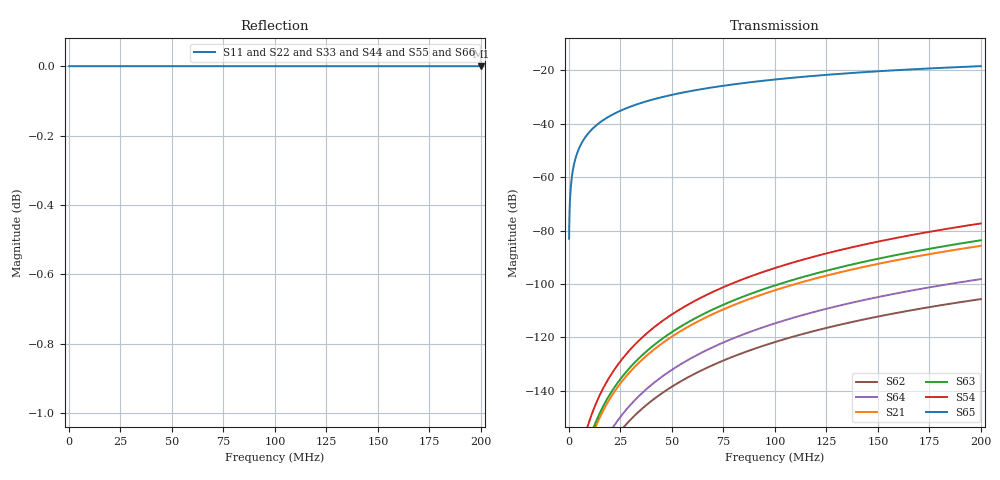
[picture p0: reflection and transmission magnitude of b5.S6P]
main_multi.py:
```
# import re
# import numpy as np
# import matplotlib.pyplot as plt
# import pathlib

# from copy import deepcopy
# from code_pdn_AH import PDN
# import time
# import os
# import skrf as rf
# from input_AH import input_path, stackup_path, touchstone_path

# from pdn_io.spd_parser import parse_spd
# from pdn_io.stackup_parser import read_stackup
# from pdn_io.spd_parser_multi import parse_spd_multi


# if __name__ == '__main__':
#     # Get the directory where the script is located
#     script_dir = os.path.dirname(__file__)

#     # Construct the absolute path to the SPD file
#     spd_path = os.path.join(script_dir, "input files", "board 5", "b5.spd")

#     boards = parse_spd_multi(PDN, spd_path, ["pwr", "pwr1", "pwr2", "pwr3", "pwr4", "pwr5"], verbose=True)  
#     if boards:
#         for i, board_data in enumerate(boards):
#             print(f"\n--- Printing Board {i+1} ({['pwr', 'pwr1', 'pwr2', 'pwr3', 'pwr4', 'pwr5'][i]}) ---")
            
#             # The 'board_data' is a tuple. You can access its elements by index.
#             # Printing each element separately makes the output more readable.
#             print(f"Board Polygons (bxy): {board_data[0]}")
#             print(f"IC Via XY: {board_data[1]}")
#             print(f"IC Via Type: {board_data[2]}")
#             print(f"Start Layers: {board_data[3]}")
#             print(f"Stop Layers: {board_data[4]}")
#             print(f"Via Type: {board_data[5]}")
#             print(f"Decap Via XY: {board_data[6]}")
#             print(f"Decap Via Type: {board_data[7]}")
#             print(f"Stackup: {board_data[8]}")
            
#             # Check for buried vias, as they are optional in the tuple
#             if len(board_data) > 9:
#                 print(f"Buried Via XY: {board_data[9]}")
#                 print(f"Buried Via Type: {board_data[10]}")

#             print("------------------------------------------")
#     else:
#         print("\nNo boards were successfully parsed.")



import os
import numpy as np
import matplotlib.pyplot as plt
import skrf as rf

from BEM_AC_NVM_PDN import PDN
from pdn_io.spd_parser_multi import parse_spd_multi
from pdn_io.stackup_parser import read_stackup


if __name__ == "__main__":

    # --- Paths ---
    script_dir = os.path.dirname(__file__)
    spd_path = os.path.join(script_dir, "input files", "board 5", "b5.spd")
    stackup_path = os.path.join(script_dir, "input files", "board 5", "b5_stackup.csv")
    touchstone_path = os.path.join(script_dir, "input files", "board 5", "b5.S6P")

    # --- Build all 6 boards ---

    boards = parse_spd_multi(PDN, spd_path,
                             ["pwr", "pwr1", "pwr2", "pwr3", "pwr4", "pwr5"],
                             verbose=True)

    # --- Pick board 1 (net 'pwr') ---

    brd = boards[0]  # index 0 → 'pwr'
    # Attach stackup info
    die_t, er_list, d_r = read_stackup(stackup_path)
    brd.er_list = er_list
    brd.die_t = die_t
    brd.d_r = d_r

    # --- Build boundary segments for calc_z_fast ---
    d = 1e-3  # your spacing step
    brd.bxy = np.array([np.round(np.array(item), 6) for item in brd.bxy], dtype=object)
    brd.sxy = np.concatenate([brd.seg_bd_node(single_bxy, d) for single_bxy in brd.bxy], axis=0)

    brd.sxy_index_ranges = []
    offset = 0
    for b in brd.bxy:
        n_seg = brd.seg_bd_node(b, d).shape[0]
        brd.sxy_index_ranges.append((offset, offset + n_seg))
        offset += n_seg

    brd.sxy_list = [brd.seg_bd_node(b, d) for b in brd.bxy]

    # Now you can print using the named attributes as requested
    print(f"Board Polygons (bxy): {brd.bxy}")
    print(f"IC Via XY: {brd.ic_via_xy}")
    print(f"IC Via Type: {brd.ic_via_type}")
    print(f"Start Layers: {brd.start_layers}")
    print(f"Stop Layers: {brd.stop_layers}")
    print(f"Via Type: {brd.via_type}")
    print(f"Decap Via XY: {brd.decap_via_xy}")
    print(f"Decap Via Type: {brd.decap_via_type}")
    print(f"Stackup: {brd.stackup}")
    
    # Check for buried vias, as they are optional
    if brd.buried_via_xy is not None:
        print(f"Buried Via XY: {brd.buried_via_xy}")
        print(f"Buried Via Type: {brd.buried_via_type}")

    print("------------------------------------------")


    # --- Compute Z from Python solver ---
    z_python = brd.calc_z_fast(res_matrix=None, verbose=False)  # shape (nfreq, nports, nports)

    # Frequency setup (should match your sweep)
    fstart = 1e5   # 100 kHz
    fstop = 200e6  # 200 MHz
    nf = 201
    freq = np.logspace(np.log10(fstart), np.log10(fstop), nf)

    # --- Load Touchstone ---
    ntw = rf.Network(touchstone_path)
    # Interpolate to our frequency grid
    ntw = ntw.interpolate(freq, kind="linear")
    z_touch = ntw.z

    # --- Compare |Z11| ---
    plt.figure()
    plt.loglog(freq, np.abs(z_python[:, 0, 0]), label="Python calc_z_fast Z11")
    plt.loglog(freq, np.abs(z_touch[:, 0, 0]), "--", label="Touchstone b5.S6P Z11")
    plt.xlabel("Frequency (Hz)")
    plt.ylabel("|Z11| (Ohm)")
    plt.title("Comparison: Board 1 (pwr) Z11")
    plt.grid(True, which="both")
    plt.legend()
    plt.tight_layout()
    plt.show()
```
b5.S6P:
!Generated from: C:\Users\nkfzm\OneDrive - University of Missouri\Desktop\Research\PowerSI\Board 5 - 6P\b5.spd
! Port1_DF1::pwr
! Port2_DF1::pwr1
! Port3_DF1::pwr2
! Port4_DF1::pwr3
! Port5_DF1::pwr4
! Port6_DF1::pwr5
!Layout Workbench Version: 24.1.0.10141.541387  000
!Computer Host Name: RS29JQCX3
!TouchstoneFormatFlag = 1
! GNDNET GND
! NETSLIST
#	Hz	S	RI	R	50
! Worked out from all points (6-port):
!   127 points, 100 kHz to 200 MHz, reference 50 ohm
!   strongest paths, dB at 100 kHz, 15 MHz, 74 MHz, 138 MHz, 200 MHz:
!     S65: -83.0, -39.5, -25.9, -20.9, -18.4
!     S54: -, -141.6, -101.5, -86.1, -77.3
!     S63: -, -148.3, -108.1, -92.6, -83.6
!     S21: -, -149.9, -109.8, -94.5, -85.7
!     S64: -, -162.5, -122.2, -106.9, -98.2
!     S62: -, -167.2, -129.0, -114.1, -105.6
!   lowest |S11| = 0.0 dB at 200 MHz (marker M1)
!   |S11| at or under -10 dB: nowhere
